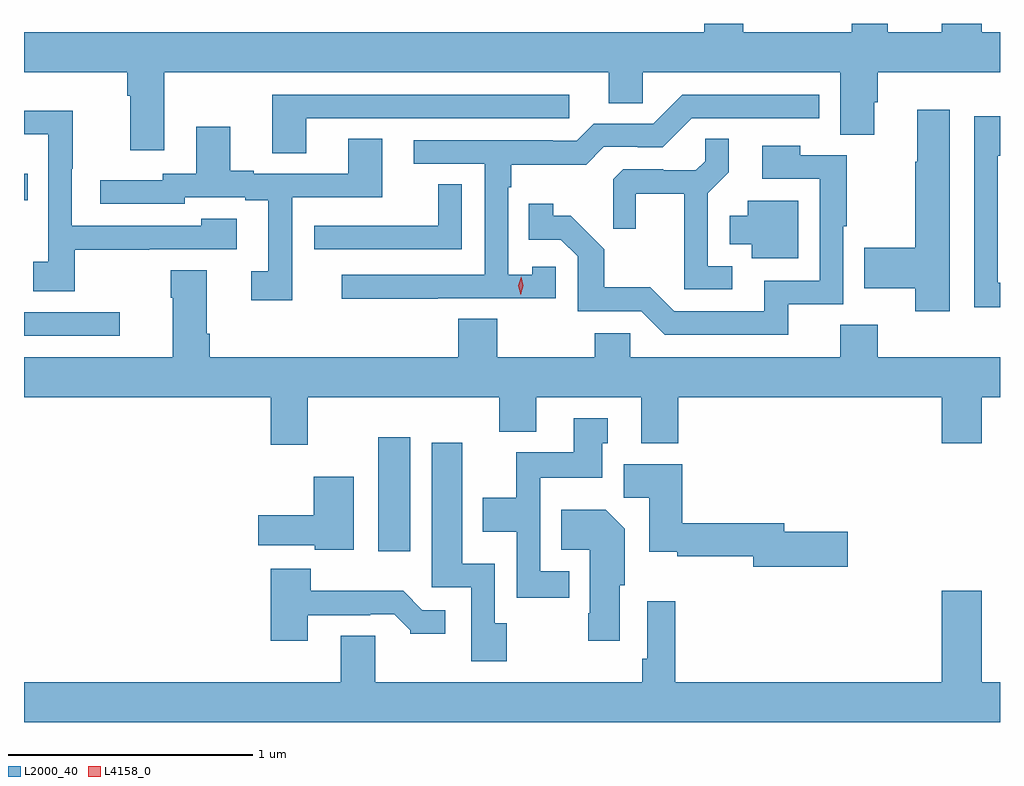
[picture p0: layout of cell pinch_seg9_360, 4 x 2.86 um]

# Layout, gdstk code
import gdstk
lib = gdstk.Library(unit=1e-6, precision=1e-09)
def R(c, l, rs):  # rectangles x0, y0, x1, y1
    for r in rs: c.add(gdstk.rectangle(r[:2], r[2:], *l))
def P(c, l, *ps):  # polygons
    for p in ps: c.add(gdstk.Polygon(p, *l))
L2000_40 = (2000, 40)
L4158_0 = (4158, 0)

pinch_seg9_360 = lib.new_cell('pinch_seg9_360')
R(pinch_seg9_360, L2000_40, [(378.482,1210.44,378.613,1210.909), (377.03,1211.325,377.422,1211.421), (377.03,1211.88,377.045,1211.989)])
P(pinch_seg9_360, L2000_40, [(377.605,1212.404),(379.427,1212.404),(379.427,1212.277),(379.566,1212.277),(379.566,1212.404),(380.375,1212.404),(380.375,1212.148),(380.515,1212.148),(380.515,1212.282),(380.528,1212.282),(380.528,1212.404),(381.03,1212.404),(381.03,1212.568),(380.956,1212.568),(380.956,1212.603),(380.792,1212.603),(380.792,1212.568),(380.569,1212.568),(380.569,1212.603),(380.422,1212.603),(380.422,1212.568),(379.977,1212.568),(379.977,1212.603),(379.817,1212.603),(379.817,1212.568),(377.03,1212.568),(377.03,1212.404),(377.453,1212.404),(377.453,1212.308),(377.465,1212.308),(377.465,1212.084),(377.605,1212.084)],
  [(378.187,1212.216),(379.264,1212.216),(379.264,1212.312),(378.047,1212.312),(378.047,1212.073),(378.187,1212.073)],
  [(378.725,1211.478),(379.209,1211.478),(379.209,1211.607),(379.113,1211.607),(379.113,1211.575),(379.014,1211.575),(379.014,1211.933),(379.027,1211.933),(379.027,1212.026),(379.334,1212.026),(379.407,1212.099),(379.546,1212.099),(379.546,1212.096),(379.647,1212.096),(379.767,1212.216),(380.29,1212.216),(380.29,1212.312),(379.728,1212.312),(379.608,1212.192),(379.365,1212.192),(379.296,1212.123),(379.196,1212.123),(379.196,1212.126),(378.627,1212.126),(378.627,1212.03),(378.918,1212.03),(378.918,1211.574),(378.333,1211.574),(378.333,1211.476),(378.725,1211.476)],
  [(380.824,1212.25),(380.69,1212.25),(380.69,1212.037),(380.683,1212.037),(380.683,1211.685),(380.473,1211.685),(380.473,1211.519),(380.683,1211.519),(380.683,1211.424),(380.824,1211.424)],
  [(377.239,1211.677),(377.543,1211.677),(377.543,1211.679),(377.902,1211.679),(377.902,1211.803),(377.757,1211.803),(377.757,1211.775),(377.226,1211.775),(377.226,1212.008),(377.229,1212.008),(377.229,1212.247),(377.03,1212.247),(377.03,1212.149),(377.13,1212.149),(377.13,1211.628),(377.067,1211.628),(377.067,1211.506),(377.239,1211.506)],
  [(381.03,1211.541),(381.021,1211.541),(381.021,1212.062),(381.03,1212.062),(381.03,1212.223),(380.925,1212.223),(380.925,1211.441),(381.03,1211.441)],
  [(378.129,1211.892),(378.499,1211.892),(378.499,1212.131),(378.359,1212.131),(378.359,1211.988),(377.971,1211.988),(377.971,1212.001),(377.875,1212.001),(377.875,1212.181),(377.735,1212.181),(377.735,1211.988),(377.598,1211.988),(377.598,1211.961),(377.343,1211.961),(377.343,1211.865),(377.688,1211.865),(377.688,1211.892),(377.936,1211.892),(377.936,1211.88),(378.032,1211.88),(378.032,1211.589),(377.961,1211.589),(377.961,1211.469),(378.129,1211.469)],
  [(379.933,1211.61),(379.833,1211.61),(379.833,1211.909),(379.919,1211.995),(379.919,1212.131),(379.821,1212.131),(379.821,1212.04),(379.784,1212.003),(379.65,1212.003),(379.65,1212.006),(379.485,1212.006),(379.444,1211.965),(379.444,1211.763),(379.538,1211.763),(379.538,1211.906),(379.736,1211.906),(379.736,1211.514),(379.933,1211.514)],
  [(380.162,1211.454),(380.388,1211.454),(380.388,1211.773),(380.401,1211.773),(380.401,1212.063),(380.211,1212.063),(380.211,1212.103),(380.055,1212.103),(380.055,1211.967),(380.292,1211.967),(380.292,1211.55),(380.063,1211.55),(380.063,1211.424),(379.695,1211.424),(379.597,1211.523),(379.408,1211.523),(379.408,1211.678),(379.27,1211.816),(379.2,1211.816),(379.2,1211.866),(379.099,1211.866),(379.099,1211.718),(379.23,1211.718),(379.299,1211.649),(379.299,1211.424),(379.56,1211.424),(379.656,1211.328),(380.162,1211.328)],
  [(378.825,1211.945),(378.727,1211.945),(378.727,1211.775),(378.331,1211.775),(378.331,1211.774),(378.219,1211.774),(378.219,1211.679),(378.825,1211.679)],
  [(380.203,1211.878),(379.997,1211.878),(379.997,1211.815),(379.922,1211.815),(379.922,1211.699),(380.012,1211.699),(380.012,1211.642),(380.203,1211.642)],
  [(378.193,1211.072),(378.977,1211.072),(378.977,1210.931),(379.129,1210.931),(379.129,1211.072),(379.559,1211.072),(379.559,1210.883),(379.712,1210.883),(379.712,1211.072),(380.792,1211.072),(380.792,1210.884),(380.956,1210.884),(380.956,1211.072),(381.03,1211.072),(381.03,1211.236),(380.528,1211.236),(380.528,1211.369),(380.375,1211.369),(380.375,1211.236),(379.515,1211.236),(379.515,1211.334),(379.369,1211.334),(379.369,1211.236),(378.969,1211.236),(378.969,1211.393),(378.809,1211.393),(378.809,1211.236),(377.792,1211.236),(377.792,1211.332),(377.779,1211.332),(377.779,1211.593),(377.632,1211.593),(377.632,1211.48),(377.639,1211.48),(377.639,1211.236),(377.03,1211.236),(377.03,1211.072),(378.041,1211.072),(378.041,1210.878),(378.193,1210.878)],
  [(379.264,1210.359),(379.146,1210.359),(379.146,1210.742),(379.399,1210.742),(379.399,1210.884),(379.423,1210.884),(379.423,1210.987),(379.283,1210.987),(379.283,1210.846),(379.048,1210.846),(379.048,1210.66),(378.911,1210.66),(378.911,1210.52),(379.05,1210.52),(379.05,1210.251),(379.264,1210.251)],
  [(379.008,1210.146),(378.96,1210.146),(378.96,1210.39),(378.826,1210.39),(378.826,1210.885),(378.701,1210.885),(378.701,1210.293),(378.864,1210.293),(378.864,1209.99),(379.008,1209.99)],
  [(380.407,1210.52),(380.146,1210.52),(380.146,1210.556),(379.727,1210.556),(379.727,1210.798),(379.487,1210.798),(379.487,1210.66),(379.592,1210.66),(379.592,1210.439),(379.708,1210.439),(379.708,1210.42),(380.018,1210.42),(380.018,1210.378),(380.407,1210.378)],
  [(378.382,1210.747),(378.218,1210.747),(378.218,1210.588),(377.991,1210.588),(377.991,1210.466),(378.222,1210.466),(378.222,1210.448),(378.382,1210.448)],
  [(379.471,1210.302),(379.492,1210.302),(379.492,1210.534),(379.414,1210.612),(379.231,1210.612),(379.231,1210.448),(379.349,1210.448),(379.349,1210.186),(379.342,1210.186),(379.342,1210.074),(379.471,1210.074)],
  [(378.193,1210.179),(378.449,1210.179),(378.449,1210.182),(378.548,1210.182),(378.612,1210.118),(378.612,1210.103),(378.757,1210.103),(378.757,1210.2),(378.663,1210.2),(378.585,1210.279),(378.206,1210.279),(378.206,1210.369),(378.041,1210.369),(378.041,1210.074),(378.193,1210.074)],
  [(381.03,1209.904),(380.956,1209.904),(380.956,1210.279),(380.792,1210.279),(380.792,1209.904),(379.7,1209.904),(379.7,1210.237),(379.584,1210.237),(379.584,1210),(379.564,1210),(379.564,1209.904),(378.469,1209.904),(378.469,1210.094),(378.329,1210.094),(378.329,1209.904),(377.03,1209.904),(377.03,1209.74),(381.03,1209.74)])
P(pinch_seg9_360, L4158_0, [(379.066,1211.493),(379.066,1211.493),(379.056,1211.529),(379.067,1211.565),(379.067,1211.565),(379.067,1211.565),(379.076,1211.529),(379.066,1211.493)])

lib.write_gds('pinch_seg9_360.gds')
